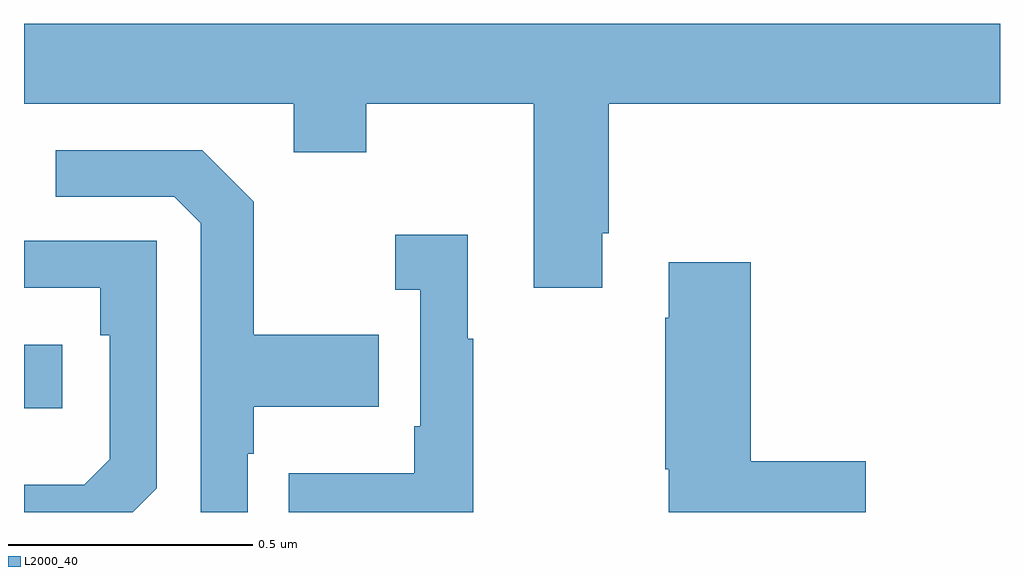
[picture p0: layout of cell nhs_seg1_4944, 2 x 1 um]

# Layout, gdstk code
import gdstk
lib = gdstk.Library(unit=1e-6, precision=1e-09)
def R(c, l, rs):  # rectangles x0, y0, x1, y1
    for r in rs: c.add(gdstk.rectangle(r[:2], r[2:], *l))
def P(c, l, *ps):  # polygons
    for p in ps: c.add(gdstk.Polygon(p, *l))
L2000_40 = (2000, 40)

nhs_seg1_4944 = lib.new_cell('nhs_seg1_4944')
R(nhs_seg1_4944, L2000_40, [(172,580.412,172.078,580.542)])
P(nhs_seg1_4944, L2000_40, [(173.185,580.771),(173.198,580.771),(173.198,581.036),(174,581.036),(174,581.2),(172,581.2),(172,581.036),(172.553,581.036),(172.553,580.937),(172.701,580.937),(172.701,581.036),(173.045,581.036),(173.045,580.659),(173.185,580.659)],
  [(172.458,580.319),(172.471,580.319),(172.471,580.415),(172.727,580.415),(172.727,580.563),(172.471,580.563),(172.471,580.835),(172.365,580.941),(172.065,580.941),(172.065,580.845),(172.308,580.845),(172.362,580.791),(172.362,580.199),(172.458,580.199)],
  [(172.921,580.555),(172.909,580.555),(172.909,580.768),(172.761,580.768),(172.761,580.655),(172.812,580.655),(172.812,580.375),(172.8,580.375),(172.8,580.279),(172.543,580.279),(172.543,580.199),(172.921,580.199)],
  [(172.272,580.248),(172.272,580.755),(172,580.755),(172,580.659),(172.156,580.659),(172.156,580.562),(172.176,580.562),(172.176,580.308),(172.123,580.255),(172,580.255),(172,580.199),(172.223,580.199)],
  [(173.725,580.304),(173.489,580.304),(173.489,580.711),(173.321,580.711),(173.321,580.598),(173.314,580.598),(173.314,580.287),(173.321,580.287),(173.321,580.199),(173.725,580.199)])

lib.write_gds('nhs_seg1_4944.gds')
